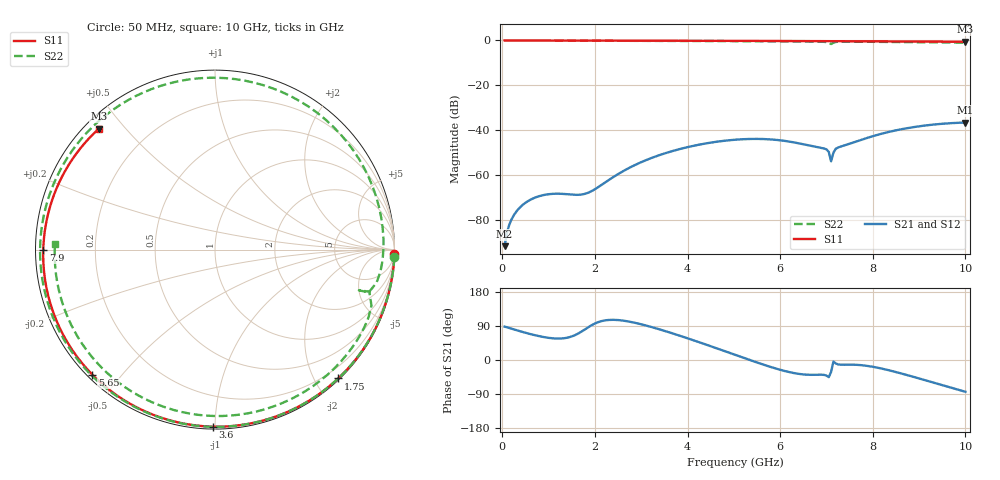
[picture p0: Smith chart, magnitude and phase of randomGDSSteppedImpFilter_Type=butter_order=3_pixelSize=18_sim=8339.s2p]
! freq	dB(S11)	phase(S11)	dB(S12)	phase(S12)
!  dB(S21)	phase(S21)	dB(S22)	phase(S22)
!S-par simulation data
#  GHz  S  DB  R 50
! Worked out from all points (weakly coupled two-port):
!   200 points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, 50 MHz to 10 GHz, reference 50 ohm
!   highest |S21| = -36.57 dB at 10 GHz (marker M1); lowest = -91.6 dB at 50 MHz (marker M2)
!   lowest |S11| = -0.6 dB at 10 GHz (marker M3), VSWR 29.40, Z = 2.01 + j21.3 ohm
!   |S11| at or under -10 dB: nowhere
!   |S22| runs from -1.6 to 0.0 dB; largest |S21 - S12| = 0
!   S11 on the Smith chart (normalised r, x): 50 MHz: 0, -84; 1.75 GHz: 0.02, -2.34; 3.6 GHz: 0.01, -0.99; 5.65 GHz: 0.01, -0.42; 7.9 GHz: 0.02, -0.00; 10 GHz: 0.04, +0.43
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0.05  -0.00 -1.4  -91.62 88.2  -91.62 88.2  -0.00 -2.4
0.2  -0.01 -5.4  -79.68 82.6  -79.68 82.6  -0.01 -9.8
0.4  -0.01 -10.8  -73.99 75.3  -73.99 75.3  -0.03 -19.4
0.75  -0.03 -20.2  -69.67 64.2  -69.67 64.2  -0.05 -36.2
1.75  -0.06 -46.3  -68.48 78.0  -68.48 78.0  -0.10 -82.7
2.55  -0.08 -66.2  -58.90 104.8  -58.90 104.8  -0.14 -118.3
3.4  -0.11 -86.2  -51.02 80.7  -51.02 80.7  -0.19 -156.1
3.6  -0.12 -90.8  -49.71 73.2  -49.71 73.2  -0.20 -165.3
4.35  -0.15 -107.3  -46.02 42.8  -46.02 42.8  -0.26 158.5
5.05  -0.18 -122.1  -44.17 12.7  -44.17 12.7  -0.32 120.4
5.65  -0.21 -134.4  -43.91 -12.7  -43.91 -12.7  -0.39 83.4
6.15  -0.24 -144.5  -44.89 -30.6  -44.89 -30.6  -0.44 49.7
6.7  -0.28 -155.5  -47.12 -39.2  -47.12 -39.2  -0.51 10.8
7  -0.31 -161.6  -48.50 -41.2  -48.50 -41.2  -0.73 -11.6
7.05  -0.31 -162.6  -49.66 -45.3  -49.66 -45.3  -1.02 -15.6
7.1  -0.31 -163.6  -53.85 -31.5  -53.85 -31.5  -1.59 -15.8
7.2  -0.32 -165.6  -48.26 -9.1  -48.26 -9.1  -0.67 -19.7
7.5  -0.35 -171.7  -46.00 -12.3  -46.00 -12.3  -0.55 -41.5
7.9  -0.38 -179.8  -43.27 -15.9  -43.27 -15.9  -0.60 -66.8
8.35  -0.42 170.8  -40.72 -27.1  -40.72 -27.1  -0.67 -93.1
9.25  -0.51 151.3  -37.60 -57.5  -37.60 -57.5  -0.83 -141.9
10  -0.59 133.8  -36.57 -83.8  -36.57 -83.8  -0.99 177.9
